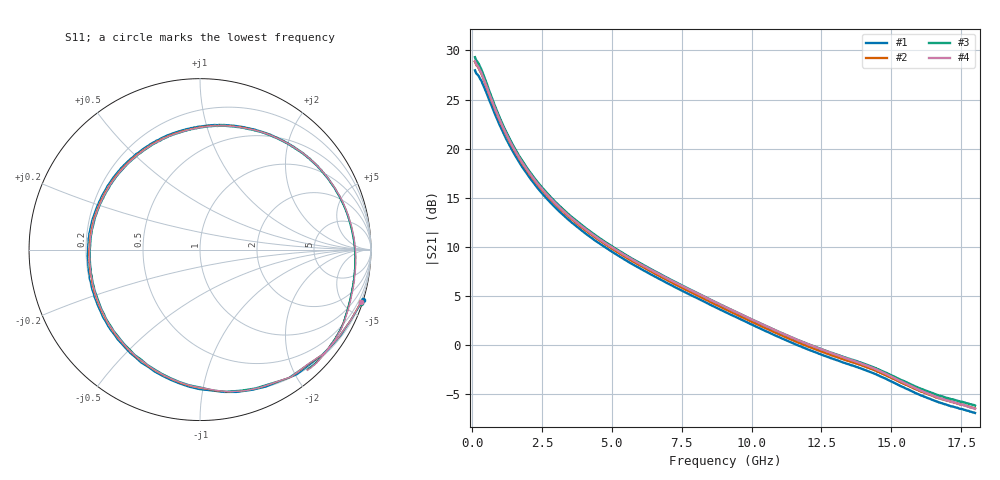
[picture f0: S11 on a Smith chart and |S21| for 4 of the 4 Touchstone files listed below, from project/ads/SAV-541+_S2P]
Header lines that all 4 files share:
! Data provided by Modelithics, Inc.  Tampa, Florida USA, June 2008
!Model SAV-541+
!BEGIN ACDATA
# GHZ S MA R 50
! Scattering Parameters
!% F n11x n11y n21x n21y n12x n12y n22x n22y
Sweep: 100 MHz to 18 GHz
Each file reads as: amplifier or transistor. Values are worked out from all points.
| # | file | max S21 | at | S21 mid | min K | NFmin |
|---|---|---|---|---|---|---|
| 1 | SAV_541_S2_2V_40mA.s2p | 28.0 dB | 100 MHz | 3.4 dB at 9.05 GHz | 0.00 | 0.10 dB |
| 2 | SAV_541_S2_2V_60mA.s2p | 28.8 dB | 100 MHz | 3.7 dB at 9.05 GHz | 0.03 | 0.10 dB |
| 3 | SAV_541_S2_2V_80mA.s2p | 29.3 dB | 100 MHz | 3.9 dB at 9.05 GHz | 0.04 | 0.10 dB |
| 4 | SAV_541_S2_4V_60mA.s2p | 28.9 dB | 100 MHz | 3.9 dB at 9.05 GHz | 0.01 | 0.09 dB |
